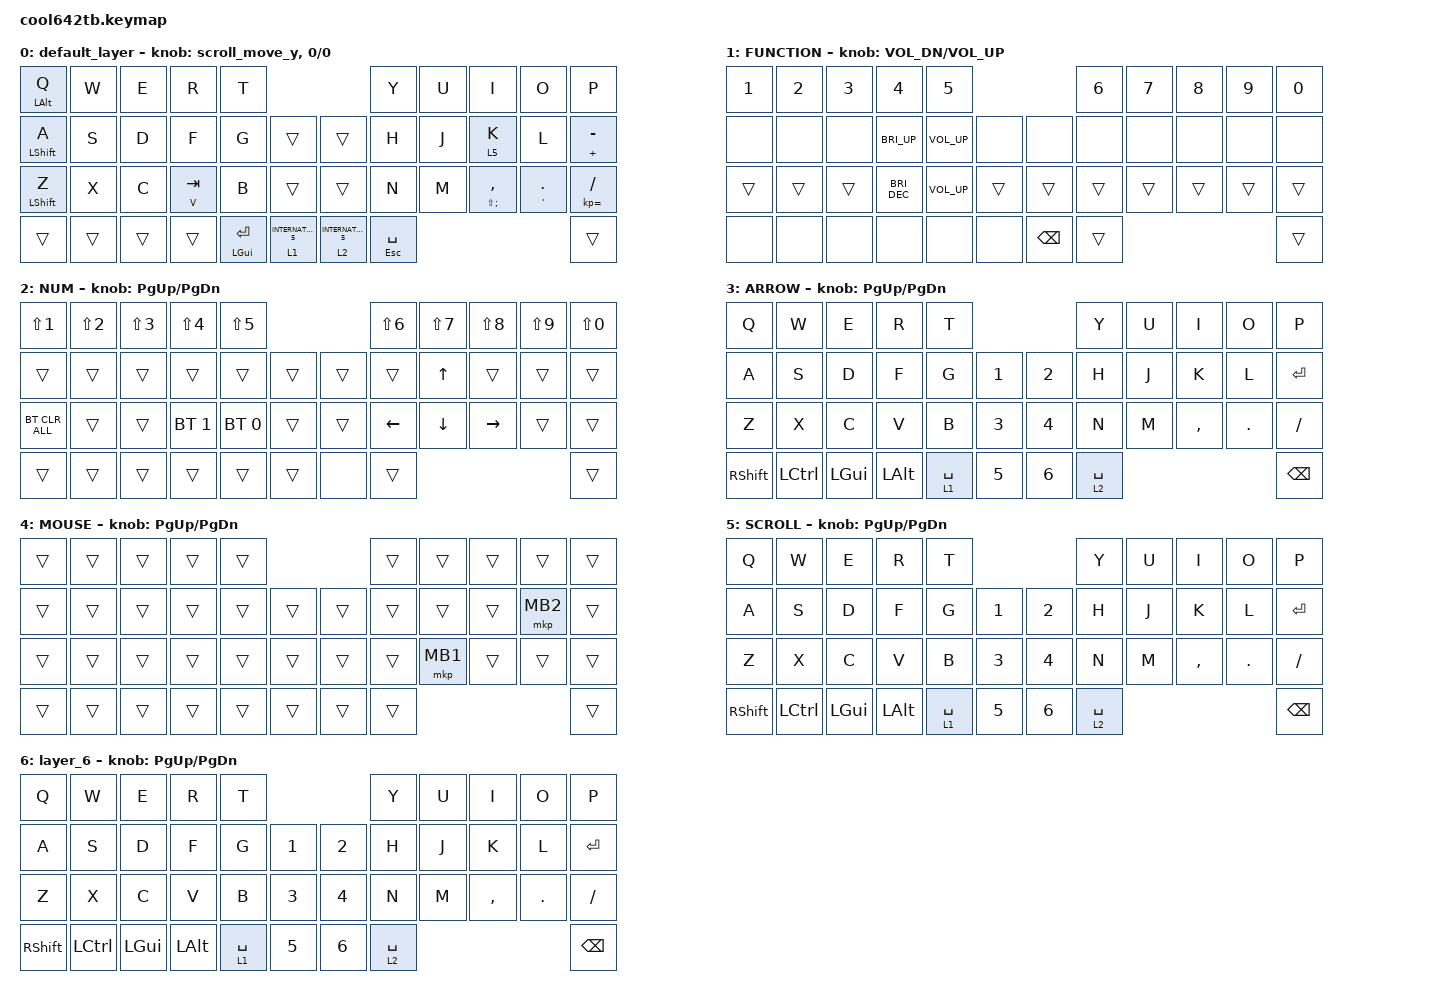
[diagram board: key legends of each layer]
#include <behaviors.dtsi>
#include <dt-bindings/zmk/bt.h>
#include <dt-bindings/zmk/keys.h>
#include <dt-bindings/zmk/pointing.h>

#define ZMK_MOUSE_DEFAULT_SCRL_VAL 100
#define MOUSE 4
#define SCROLL 5
#define NUM 6

&mt {
    flavor = "balanced";
    quick-tap-ms = <0>;
};

/ {
    combos {
        compatible = "zmk,combos";

        comb1 {
            bindings = <&kp TAB>;
            key-positions = <11 10>;
        };

        comb2 {
            bindings = <&kp LS(ESCAPE)>;
            key-positions = <0 1>;
        };

        comb3 {
            bindings = <&kp CAPSLOCK>;
            key-positions = <22 23>;
        };

        comb4 {
            bindings = <&kp BACKSPACE>;
            key-positions = <9 8>;
        };

        comb5 {
            bindings = <&bt BT_CLR_ALL>;
            key-positions = <9 8>;
            timeout-ms = <0>;
            layers = <2>;
        };

        MS_BTN1_ {
            bindings = <&mkp MB1>;
            key-positions = <38 39>;
        };

        MS_BTN2_ {
            bindings = <&mkp MB2>;
            key-positions = <38 37>;
        };

        Henkanm {
            bindings = <&kp F13>;
            key-positions = <1 2>;
        };
    };

    macros {
        to_layer_0: to_layer_0 {
            compatible = "zmk,behavior-macro-one-param";
            #binding-cells = <1>;
            bindings = <&to 0 &macro_param_1to1 &kp MACRO_PLACEHOLDER>;
            label = "TO_LAYER_0";
        };
    };

    behaviors {
        lt_to_layer_0: lt_to_layer_0 {
            compatible = "zmk,behavior-hold-tap";
            label = "LAYER_TAP_TO_0";
            bindings = <&mo>, <&to_layer_0>;

            #binding-cells = <2>;
            tapping-term-ms = <200>;
        };

        scroll_up_down: behavior_sensor_rotate_mouse_wheel_up_down {
            compatible = "zmk,behavior-sensor-rotate";
            #sensor-binding-cells = <0>;
            bindings = <&msc SCRL_UP>, <&msc SCRL_DOWN>;

            tap-ms = <20>;
        };
    };

    // エンコーダー：キー

    rot_kp: sensor_rotate_kp {
        compatible = "zmk,behavior-sensor-rotate-var";
        #sensor-binding-cells = <2>;
        bindings = <&kp>, <&kp>;
    };

    // エンコーダー：マウススクロール 

    rot_msc: sensor_rotate_msc {
        compatible = "zmk,behavior-sensor-rotate-var";
        #sensor-binding-cells = <2>;
        tap-ms = <20>;
        bindings = <&msc>, <&msc>;
    };

    // エンコーダー：マウススクロール(MOVE_Y)

    scroll_move_y: sensor_rotate_msc_for_move_y {
        compatible = "zmk,behavior-sensor-rotate";
        #sensor-binding-cells = <0>;
        bindings = <&msc MOVE_Y(20)>, <&msc MOVE_Y(-20)>;

        // tap-ms下限メモ Yの値で可変: Y(15) <81>, Y(20) <65>, Y(25) <49>

        tap-ms = <65>;
    };

    // エンコーダー：マウススクロール(MOVE_X)

    scroll_move_x: sensor_rotate_msc_for_move_x {
        compatible = "zmk,behavior-sensor-rotate";
        #sensor-binding-cells = <0>;
        bindings = <&msc MOVE_X(20)>, <&msc MOVE_X(-20)>;

        // tap-ms下限メモ Xの値で可変: X(15) <81>, X(20) <65>, X(25) <49>

        tap-ms = <65>;
    };

    keymap {
        compatible = "zmk,keymap";

        default_layer {
            bindings = <
&mt LEFT_ALT Q    &kp W   &kp E   &kp R      &kp T                                                           &kp Y             &kp U  &kp I               &kp O            &kp P
&mt LEFT_SHIFT A  &kp S   &kp D   &kp F      &kp G             &trans                 &trans                 &kp H             &kp J  &lt_to_layer_0 5 K  &kp L            &mt PLUS MINUS
&mt LEFT_SHIFT Z  &kp X   &kp C   &mt V TAB  &kp B             &trans                 &trans                 &kp N             &kp M  &mt LS(SEMI) COMMA  &mt APOS PERIOD  &mt KP_EQUAL SLASH
&trans            &trans  &trans  &trans     &mt LEFT_GUI RET  &lt 1 INTERNATIONAL_5  &lt 2 INTERNATIONAL_5  &mt ESCAPE SPACE                                              &trans
            >;

            sensor-bindings = <&scroll_move_y>, <&inc_dec_kp 0 0>;
        };

        FUNCTION {
            bindings = <
&kp N1  &kp N2  &kp N3  &kp N4         &kp N5                                  &kp N6  &kp N7  &kp N8  &kp N9  &kp N0
&none   &none   &none   &kp C_BRI_UP   &kp C_VOLUME_UP  &none   &none          &none   &none   &none   &none   &none
&trans  &trans  &trans  &kp C_BRI_DEC  &kp C_VOL_UP     &trans  &trans         &trans  &trans  &trans  &trans  &trans
&none   &none   &none   &none          &none            &none   &kp BACKSPACE  &trans                          &trans
            >;

            sensor-bindings = <&inc_dec_kp C_VOL_DN C_VOL_UP>;
        };

        NUM {
            bindings = <
&kp LS(NUMBER_1)  &kp LS(NUMBER_2)  &kp LS(NUMBER_3)  &kp LS(NUMBER_4)  &kp LS(N5)                    &kp LS(NUMBER_6)  &kp LS(N7)      &kp LS(N8)       &kp LS(N9)  &kp LS(N0)
&trans            &trans            &trans            &trans            &trans        &trans  &trans  &trans            &kp UP_ARROW    &trans           &trans      &trans
&bt BT_CLR_ALL    &trans            &trans            &bt BT_SEL 1      &bt BT_SEL 0  &trans  &trans  &kp LEFT_ARROW    &kp DOWN_ARROW  &kp RIGHT_ARROW  &trans      &trans
&trans            &trans            &trans            &trans            &trans        &trans  &none   &trans                                                         &trans
            >;

            sensor-bindings = <&inc_dec_kp PG_UP PAGE_DOWN>;
        };

        ARROW {
            bindings = <
&kp Q       &kp W      &kp E     &kp R     &kp T                        &kp Y        &kp U  &kp I      &kp O       &kp P
&kp A       &kp S      &kp D     &kp F     &kp G        &kp N1  &kp N2  &kp H        &kp J  &kp K      &kp L       &kp ENTER
&kp Z       &kp X      &kp C     &kp V     &kp B        &kp N3  &kp N4  &kp N        &kp M  &kp COMMA  &kp PERIOD  &kp SLASH
&kp RSHIFT  &kp LCTRL  &kp LGUI  &kp LALT  &lt 1 SPACE  &kp N5  &kp N6  &lt 2 SPACE                                &kp BSPC
            >;

            sensor-bindings = <&inc_dec_kp PG_UP PAGE_DOWN>;
        };

        MOUSE {
            bindings = <
&trans  &trans  &trans  &trans  &trans                  &trans  &trans    &trans  &trans    &trans
&trans  &trans  &trans  &trans  &trans  &trans  &trans  &trans  &trans    &trans  &mkp MB2  &trans
&trans  &trans  &trans  &trans  &trans  &trans  &trans  &trans  &mkp MB1  &trans  &trans    &trans
&trans  &trans  &trans  &trans  &trans  &trans  &trans  &trans                              &trans
            >;

            sensor-bindings = <&inc_dec_kp PG_UP PAGE_DOWN>;
        };

        SCROLL {
            bindings = <
&kp Q       &kp W      &kp E     &kp R     &kp T                        &kp Y        &kp U  &kp I      &kp O       &kp P
&kp A       &kp S      &kp D     &kp F     &kp G        &kp N1  &kp N2  &kp H        &kp J  &kp K      &kp L       &kp ENTER
&kp Z       &kp X      &kp C     &kp V     &kp B        &kp N3  &kp N4  &kp N        &kp M  &kp COMMA  &kp PERIOD  &kp SLASH
&kp RSHIFT  &kp LCTRL  &kp LGUI  &kp LALT  &lt 1 SPACE  &kp N5  &kp N6  &lt 2 SPACE                                &kp BSPC
            >;

            sensor-bindings = <&inc_dec_kp PG_UP PAGE_DOWN>;
        };

        layer_6 {
            bindings = <
&kp Q       &kp W      &kp E     &kp R     &kp T                        &kp Y        &kp U  &kp I      &kp O       &kp P
&kp A       &kp S      &kp D     &kp F     &kp G        &kp N1  &kp N2  &kp H        &kp J  &kp K      &kp L       &kp ENTER
&kp Z       &kp X      &kp C     &kp V     &kp B        &kp N3  &kp N4  &kp N        &kp M  &kp COMMA  &kp PERIOD  &kp SLASH
&kp RSHIFT  &kp LCTRL  &kp LGUI  &kp LALT  &lt 1 SPACE  &kp N5  &kp N6  &lt 2 SPACE                                &kp BSPC
            >;

            sensor-bindings = <&inc_dec_kp PG_UP PAGE_DOWN>;
        };
    };
};
